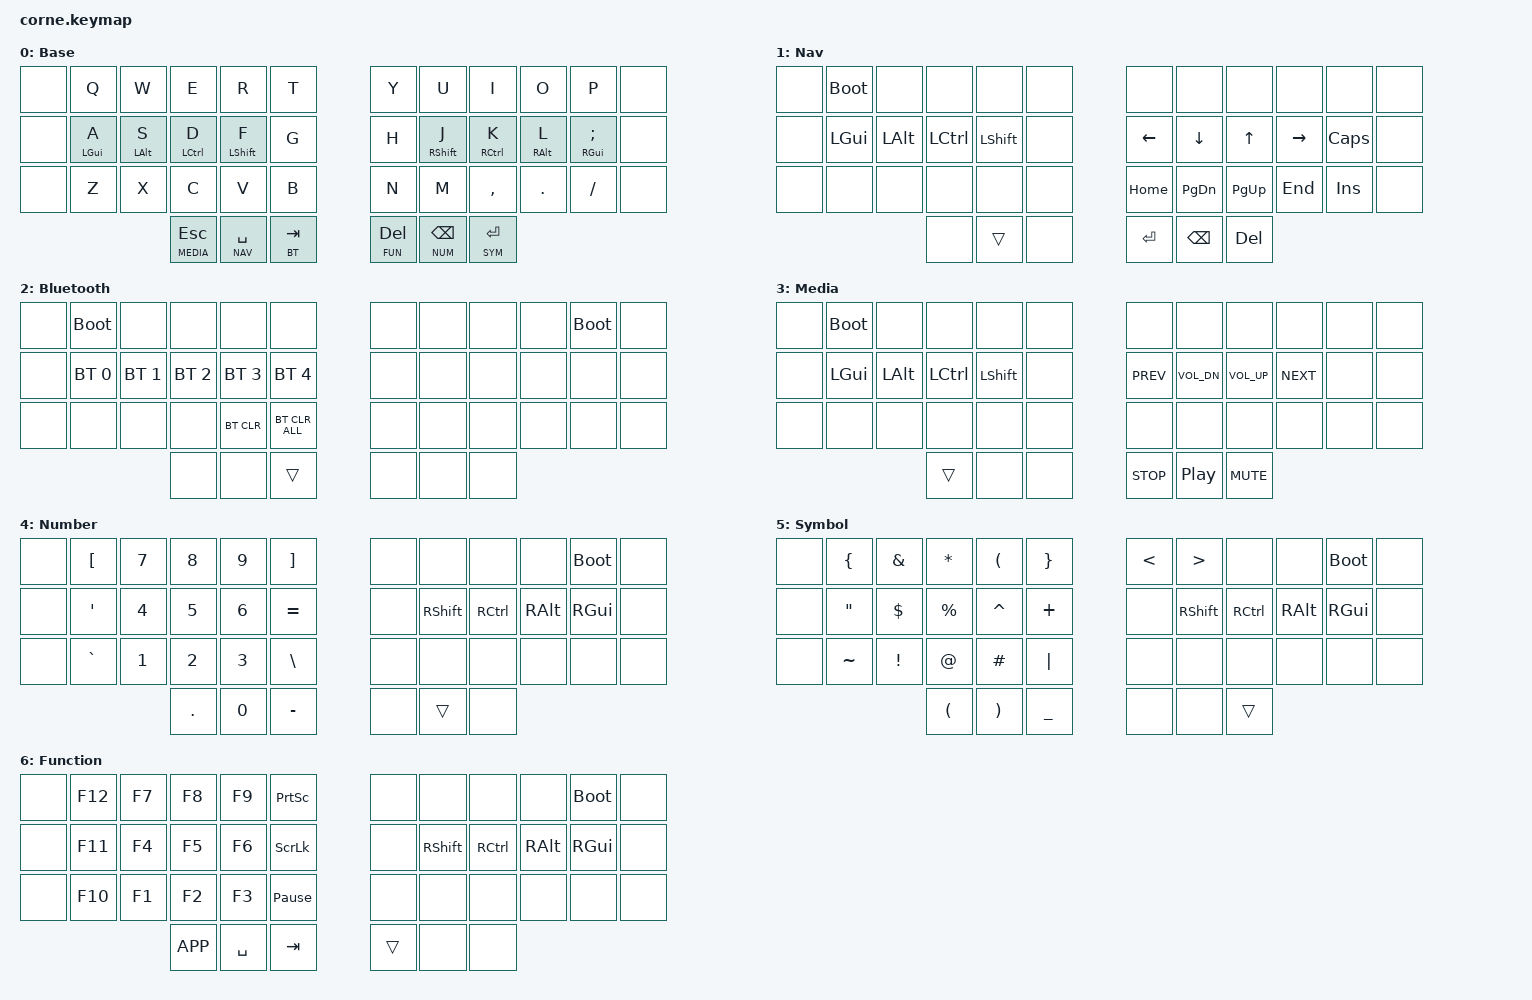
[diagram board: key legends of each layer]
#include <behaviors.dtsi>
#include <dt-bindings/zmk/bt.h>
#include <dt-bindings/zmk/keys.h>

#define BASE 0
#define NAV  1
#define BT   2
#define MEDIA 3
#define NUM  4
#define SYM  5
#define FUN  6

/ {
    behaviors {
        hm: homerow_mods {
            compatible = "zmk,behavior-hold-tap";
            #binding-cells = <2>;
            tapping-term-ms = <200>;
            flavor = "tap-preferred";
            bindings = <&kp>, <&kp>;
            quick-tap-ms = <175>;
            require-prior-idle-ms = <200>;
        };

        hs: homerow_shift {
            compatible = "zmk,behavior-hold-tap";
            #binding-cells = <2>;
            tapping-term-ms = <175>;
            flavor = "tap-preferred";
            bindings = <&kp>, <&kp>;
            quick-tap-ms = <175>;
            require-prior-idle-ms = <125>;
        };
    };

    keymap {
        compatible = "zmk,keymap";

        BASE {
            display-name = "Base";
            // ┌─────┬─────┬─────┬─────┬─────┐       ┌─────┬─────┬─────┬─────┬─────┐
            // │  Q  │  W  │  E  │  R  │  T  │       │  Y  │  U  │  I  │  O  │  P  │
            // ├─────┼─────┼─────┼─────┼─────┤       ├─────┼─────┼─────┼─────┼─────┤
            // │ A/⌘ │ S/⎇ │ D/⎈ │ F/⇧ │  G  │       │  H  │ J/⇧ │ K/⎈ │ L/⎇ │ ;/⌘ │
            // ├─────┼─────┼─────┼─────┼─────┤       ├─────┼─────┼─────┼─────┼─────┤
            // │  Z  │  X  │  C  │  V  │  B  │       │  N  │  M  │  ,  │  .  │  /  │
            // └─────┴─────┴─────┼─────┼─────┼─────┐ ┌─────┼─────┼─────┼─────┴─────┘
            //                   │ESC/3│SPC/1│TAB/2│ │DEL/6│BSP/4│ENT/5│
            //                   └─────┴─────┴─────┘ └─────┴─────┴─────┘
            bindings = <
&none  &kp Q        &kp W       &kp E       &kp R        &kp T          &kp Y      &kp U        &kp I       &kp O       &kp P           &none
&none  &hm LGUI A   &hm LALT S  &hm LCTRL D &hs LSHFT F  &kp G          &kp H      &hs RSHFT J  &hm RCTRL K &hm RALT L  &hm RGUI SEMI   &none
&none  &kp Z        &kp X       &kp C       &kp V        &kp B          &kp N      &kp M        &kp COMMA   &kp DOT     &kp FSLH        &none
                                 &lt MEDIA ESC &lt NAV SPACE &lt BT TAB   &lt FUN DEL &lt NUM BSPC &lt SYM RET
            >;
        };

        NAV {
            display-name = "Nav";
            // ┌─────┬─────┬─────┬─────┬─────┐       ┌─────┬─────┬─────┬─────┬─────┐
            // │BOOT │     │     │     │     │       │     │     │     │     │     │
            // ├─────┼─────┼─────┼─────┼─────┤       ├─────┼─────┼─────┼─────┼─────┤
            // │ ⌘   │ ⎇   │ ⎈   │ ⇧   │     │       │  ←  │  ↓  │  ↑  │  →  │CAPS │
            // ├─────┼─────┼─────┼─────┼─────┤       ├─────┼─────┼─────┼─────┼─────┤
            // │     │     │     │     │     │       │HOME │PGDN │PGUP │ END │ INS │
            // └─────┴─────┴─────┼─────┼─────┼─────┐ ┌─────┼─────┼─────┼─────┴─────┘
            //                   │     │ ▓▓▓ │     │ │ ENT │BSPC │ DEL │
            //                   └─────┴─────┴─────┘ └─────┴─────┴─────┘
            bindings = <
&none  &bootloader  &none     &none      &none      &none        &none      &none      &none      &none      &none       &none
&none  &kp LGUI     &kp LALT  &kp LCTRL  &kp LSHFT  &none        &kp LEFT   &kp DOWN   &kp UP     &kp RIGHT  &kp CAPS    &none
&none  &none        &none     &none      &none      &none        &kp HOME   &kp PG_DN  &kp PG_UP  &kp END    &kp INS     &none
                              &none      &trans     &none        &kp RET    &kp BSPC   &kp DEL
            >;
        };

        BT {
            display-name = "Bluetooth";
            // ┌─────┬─────┬─────┬─────┬─────┐       ┌─────┬─────┬─────┬─────┬─────┐
            // │BOOT │     │     │     │     │       │     │     │     │     │BOOT │
            // ├─────┼─────┼─────┼─────┼─────┤       ├─────┼─────┼─────┼─────┼─────┤
            // │BT 0 │BT 1 │BT 2 │BT 3 │BT 4 │       │     │     │     │     │     │
            // ├─────┼─────┼─────┼─────┼─────┤       ├─────┼─────┼─────┼─────┼─────┤
            // │     │     │     │BTCLR│CLALL│       │     │     │     │     │     │
            // └─────┴─────┴─────┼─────┼─────┼─────┐ ┌─────┼─────┼─────┼─────┴─────┘
            //                   │     │     │ ▓▓▓ │ │     │     │     │
            //                   └─────┴─────┴─────┘ └─────┴─────┴─────┘
            bindings = <
&none  &bootloader   &none         &none         &none         &none              &none  &none  &none  &none  &bootloader  &none
&none  &bt BT_SEL 0  &bt BT_SEL 1  &bt BT_SEL 2  &bt BT_SEL 3  &bt BT_SEL 4       &none  &none  &none  &none  &none        &none
&none  &none         &none         &none         &bt BT_CLR    &bt BT_CLR_ALL     &none  &none  &none  &none  &none        &none
                                   &none         &none         &trans             &none  &none  &none
            >;
        };

        MEDIA {
            display-name = "Media";
            // ┌─────┬─────┬─────┬─────┬─────┐       ┌─────┬─────┬─────┬─────┬─────┐
            // │BOOT │     │     │     │     │       │     │     │     │     │     │
            // ├─────┼─────┼─────┼─────┼─────┤       ├─────┼─────┼─────┼─────┼─────┤
            // │ ⌘   │ ⎇   │ ⎈   │ ⇧   │     │       │PREV │VOL- │VOL+ │NEXT │     │
            // ├─────┼─────┼─────┼─────┼─────┤       ├─────┼─────┼─────┼─────┼─────┤
            // │     │     │     │     │     │       │     │     │     │     │     │
            // └─────┴─────┴─────┼─────┼─────┼─────┐ ┌─────┼─────┼─────┼─────┴─────┘
            //                   │ ▓▓▓ │     │     │ │STOP │PLAY │MUTE │
            //                   └─────┴─────┴─────┘ └─────┴─────┴─────┘
            bindings = <
&none  &bootloader  &none     &none      &none      &none        &none       &none        &none        &none      &none  &none
&none  &kp LGUI     &kp LALT  &kp LCTRL  &kp LSHFT  &none        &kp C_PREV  &kp C_VOL_DN &kp C_VOL_UP &kp C_NEXT &none  &none
&none  &none        &none     &none      &none      &none        &none       &none        &none        &none      &none  &none
                              &trans     &none      &none        &kp C_STOP  &kp C_PP     &kp C_MUTE
            >;
        };

        NUM {
            display-name = "Number";
            // ┌─────┬─────┬─────┬─────┬─────┐       ┌─────┬─────┬─────┬─────┬─────┐
            // │  [  │  7  │  8  │  9  │  ]  │       │     │     │     │     │BOOT │
            // ├─────┼─────┼─────┼─────┼─────┤       ├─────┼─────┼─────┼─────┼─────┤
            // │  '  │  4  │  5  │  6  │  =  │       │     │  ⇧  │  ⎈  │  ⎇  │  ⌘  │
            // ├─────┼─────┼─────┼─────┼─────┤       ├─────┼─────┼─────┼─────┼─────┤
            // │  `  │  1  │  2  │  3  │  \  │       │     │     │     │     │     │
            // └─────┴─────┴─────┼─────┼─────┼─────┐ ┌─────┼─────┼─────┼─────┴─────┘
            //                   │  .  │  0  │  -  │ │     │ ▓▓▓ │     │
            //                   └─────┴─────┴─────┘ └─────┴─────┴─────┘
            bindings = <
&none  &kp LBKT   &kp N7  &kp N8  &kp N9  &kp RBKT       &none  &none      &none      &none     &bootloader  &none
&none  &kp SQT    &kp N4  &kp N5  &kp N6  &kp EQUAL      &none  &kp RSHFT  &kp RCTRL  &kp RALT  &kp RGUI     &none
&none  &kp GRAVE  &kp N1  &kp N2  &kp N3  &kp BSLH       &none  &none      &none      &none     &none        &none
                          &kp DOT &kp N0  &kp MINUS      &none  &trans     &none
            >;
        };

        SYM {
            display-name = "Symbol";
            // ┌─────┬─────┬─────┬─────┬─────┐       ┌─────┬─────┬─────┬─────┬─────┐
            // │  {  │  &  │  *  │  (  │  }  │       │  <  │  >  │     │     │BOOT │
            // ├─────┼─────┼─────┼─────┼─────┤       ├─────┼─────┼─────┼─────┼─────┤
            // │  "  │  $  │  %  │  ^  │  +  │       │     │  ⇧  │  ⎈  │  ⎇  │  ⌘  │
            // ├─────┼─────┼─────┼─────┼─────┤       ├─────┼─────┼─────┼─────┼─────┤
            // │  ~  │  !  │  @  │  #  │  |  │       │     │     │     │     │     │
            // └─────┴─────┴─────┼─────┼─────┼─────┐ ┌─────┼─────┼─────┼─────┴─────┘
            //                   │  (  │  )  │  _  │ │     │     │ ▓▓▓ │
            //                   └─────┴─────┴─────┘ └─────┴─────┴─────┘
            bindings = <
&none  &kp LBRC   &kp AMPS   &kp ASTRK  &kp LPAR   &kp RBRC       &kp LT  &kp GT     &none      &none     &bootloader  &none
&none  &kp DQT    &kp DLLR   &kp PRCNT  &kp CARET  &kp PLUS       &none   &kp RSHFT  &kp RCTRL  &kp RALT  &kp RGUI     &none
&none  &kp TILDE  &kp EXCL   &kp AT     &kp HASH   &kp PIPE       &none   &none      &none      &none     &none        &none
                              &kp LPAR   &kp RPAR   &kp UNDER      &none   &none      &trans
            >;
        };

        FUN {
            display-name = "Function";
            // ┌─────┬─────┬─────┬─────┬─────┐       ┌─────┬─────┬─────┬─────┬─────┐
            // │ F12 │ F7  │ F8  │ F9  │PSCRN│       │     │     │     │     │BOOT │
            // ├─────┼─────┼─────┼─────┼─────┤       ├─────┼─────┼─────┼─────┼─────┤
            // │ F11 │ F4  │ F5  │ F6  │SLCK │       │     │  ⇧  │  ⎈  │  ⎇  │  ⌘  │
            // ├─────┼─────┼─────┼─────┼─────┤       ├─────┼─────┼─────┼─────┼─────┤
            // │ F10 │ F1  │ F2  │ F3  │PAUSE│       │     │     │     │     │     │
            // └─────┴─────┴─────┼─────┼─────┼─────┐ ┌─────┼─────┼─────┼─────┴─────┘
            //                   │K_APP│ SPC │ TAB │ │ ▓▓▓ │     │     │
            //                   └─────┴─────┴─────┘ └─────┴─────┴─────┘
            bindings = <
&none  &kp F12  &kp F7  &kp F8     &kp F9     &kp PSCRN          &none   &none      &none      &none     &bootloader  &none
&none  &kp F11  &kp F4  &kp F5     &kp F6     &kp SLCK           &none   &kp RSHFT  &kp RCTRL  &kp RALT  &kp RGUI     &none
&none  &kp F10  &kp F1  &kp F2     &kp F3     &kp PAUSE_BREAK    &none   &none      &none      &none     &none        &none
                        &kp K_APP  &kp SPACE  &kp TAB            &trans  &none      &none
            >;
        };
    };
};
